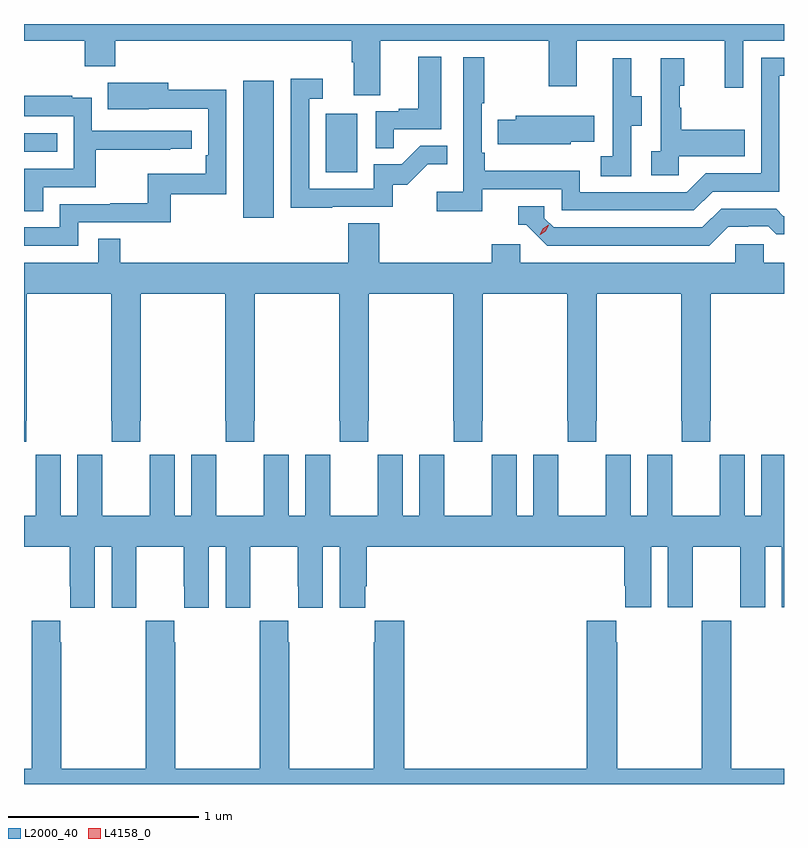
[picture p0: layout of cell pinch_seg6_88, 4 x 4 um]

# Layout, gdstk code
import gdstk
lib = gdstk.Library(unit=1e-6, precision=1e-09)
def R(c, l, rs):  # rectangles x0, y0, x1, y1
    for r in rs: c.add(gdstk.rectangle(r[:2], r[2:], *l))
def P(c, l, *ps):  # polygons
    for p in ps: c.add(gdstk.Polygon(p, *l))
L2000_40 = (2000, 40)
L4158_0 = (4158, 0)

pinch_seg6_88 = lib.new_cell('pinch_seg6_88')
R(pinch_seg6_88, L2000_40, [(900.149,933.084,900.31,933.805), (900.584,933.324,900.748,933.631), (898.995,933.432,899.171,933.528)])
P(pinch_seg6_88, L2000_40, [(900.871,934.016),(901.756,934.016),(901.756,933.777),(901.903,933.777),(901.903,934.016),(902.684,934.016),(902.684,933.768),(902.781,933.768),(902.781,934.016),(902.995,934.016),(902.995,934.104),(898.995,934.104),(898.995,934.016),(899.314,934.016),(899.314,933.881),(899.474,933.881),(899.474,934.016),(900.719,934.016),(900.719,933.904),(900.731,933.904),(900.731,933.73),(900.871,933.73)],
  [(900.941,933.549),(901.192,933.549),(901.192,933.931),(901.07,933.931),(901.07,933.658),(900.967,933.658),(900.967,933.645),(900.846,933.645),(900.846,933.451),(900.941,933.451)],
  [(901.406,933.234),(901.824,933.234),(901.824,933.123),(902.521,933.123),(902.62,933.222),(902.97,933.222),(902.97,933.831),(902.995,933.831),(902.995,933.927),(902.874,933.927),(902.874,933.318),(902.583,933.318),(902.484,933.219),(901.92,933.219),(901.92,933.331),(901.421,933.331),(901.421,933.427),(901.404,933.427),(901.404,933.688),(901.417,933.688),(901.417,933.928),(901.308,933.928),(901.308,933.22),(901.167,933.22),(901.167,933.118),(901.406,933.118)],
  [(902.19,933.568),(902.245,933.568),(902.245,933.723),(902.191,933.723),(902.191,933.925),(902.093,933.925),(902.093,933.711),(902.094,933.711),(902.094,933.407),(902.031,933.407),(902.031,933.304),(902.19,933.304)],
  [(902.442,933.407),(902.789,933.407),(902.789,933.547),(902.455,933.547),(902.455,933.662),(902.445,933.662),(902.445,933.78),(902.47,933.78),(902.47,933.925),(902.346,933.925),(902.346,933.434),(902.295,933.434),(902.295,933.309),(902.442,933.309)],
  [(900.617,933.141),(900.936,933.141),(900.936,933.258),(901.012,933.258),(901.119,933.365),(901.223,933.365),(901.223,933.464),(901.08,933.464),(900.982,933.366),(900.837,933.366),(900.837,933.237),(900.495,933.237),(900.495,933.711),(900.568,933.711),(900.568,933.817),(900.399,933.817),(900.399,933.136),(900.617,933.136)],
  [(899.28,933.06),(899.767,933.06),(899.767,933.207),(900.06,933.207),(900.06,933.758),(899.755,933.758),(899.755,933.796),(899.437,933.796),(899.437,933.656),(899.651,933.656),(899.651,933.657),(899.964,933.657),(899.964,933.412),(899.951,933.412),(899.951,933.316),(899.646,933.316),(899.646,933.161),(899.449,933.161),(899.449,933.156),(899.184,933.156),(899.184,933.033),(898.995,933.033),(898.995,932.937),(899.28,932.937)],
  [(899.095,933.246),(899.372,933.246),(899.372,933.442),(899.765,933.442),(899.765,933.447),(899.878,933.447),(899.878,933.543),(899.352,933.543),(899.352,933.715),(899.249,933.715),(899.249,933.727),(898.995,933.727),(898.995,933.618),(899.256,933.618),(899.256,933.342),(898.995,933.342),(898.995,933.118),(899.095,933.118)],
  [(901.872,933.485),(901.997,933.485),(901.997,933.622),(901.583,933.622),(901.583,933.6),(901.489,933.6),(901.489,933.471),(901.6,933.471),(901.6,933.47),(901.872,933.47)],
  [(902.701,933.036),(902.808,933.036),(902.808,933.039),(902.911,933.039),(902.953,932.997),(902.995,932.997),(902.995,933.093),(902.992,933.093),(902.953,933.132),(902.664,933.132),(902.565,933.033),(901.782,933.033),(901.734,933.081),(901.734,933.144),(901.595,933.144),(901.595,933.048),(901.638,933.048),(901.749,932.937),(902.602,932.937)],
  [(899.007,932.017),(899.01,932.017),(899.01,932.684),(899.455,932.684),(899.455,932.017),(899.457,932.017),(899.457,931.905),(899.607,931.905),(899.607,932.017),(899.61,932.017),(899.61,932.684),(900.055,932.684),(900.055,932.017),(900.057,932.017),(900.057,931.905),(900.207,931.905),(900.207,932.017),(900.21,932.017),(900.21,932.684),(900.655,932.684),(900.655,932.017),(900.657,932.017),(900.657,931.905),(900.807,931.905),(900.807,932.017),(900.81,932.017),(900.81,932.684),(901.255,932.684),(901.255,932.017),(901.257,932.017),(901.257,931.905),(901.407,931.905),(901.407,932.017),(901.41,932.017),(901.41,932.684),(901.855,932.684),(901.855,932.017),(901.857,932.017),(901.857,931.905),(902.007,931.905),(902.007,932.017),(902.01,932.017),(902.01,932.684),(902.455,932.684),(902.455,932.017),(902.457,932.017),(902.457,931.905),(902.607,931.905),(902.607,932.017),(902.61,932.017),(902.61,932.684),(902.995,932.684),(902.995,932.848),(902.889,932.848),(902.889,932.946),(902.739,932.946),(902.739,932.848),(901.608,932.848),(901.608,932.946),(901.457,932.946),(901.457,932.848),(900.866,932.848),(900.866,933.056),(900.701,933.056),(900.701,932.848),(899.501,932.848),(899.501,932.975),(899.385,932.975),(899.385,932.848),(898.995,932.848),(898.995,931.905),(899.007,931.905)],
  [(902.896,931.352),(902.984,931.352),(902.984,931.035),(902.995,931.035),(902.995,931.837),(902.876,931.837),(902.876,931.516),(902.788,931.516),(902.788,931.837),(902.658,931.837),(902.658,931.724),(902.657,931.724),(902.657,931.516),(902.407,931.516),(902.407,931.724),(902.406,931.724),(902.406,931.837),(902.276,931.837),(902.276,931.516),(902.188,931.516),(902.188,931.837),(902.058,931.837),(902.058,931.724),(902.057,931.724),(902.057,931.516),(901.807,931.516),(901.807,931.724),(901.806,931.724),(901.806,931.837),(901.676,931.837),(901.676,931.516),(901.588,931.516),(901.588,931.837),(901.458,931.837),(901.458,931.724),(901.457,931.724),(901.457,931.516),(901.207,931.516),(901.207,931.724),(901.206,931.724),(901.206,931.837),(901.076,931.837),(901.076,931.516),(900.988,931.516),(900.988,931.837),(900.858,931.837),(900.858,931.724),(900.857,931.724),(900.857,931.516),(900.607,931.516),(900.607,931.724),(900.606,931.724),(900.606,931.837),(900.476,931.837),(900.476,931.516),(900.388,931.516),(900.388,931.837),(900.258,931.837),(900.258,931.724),(900.257,931.724),(900.257,931.516),(900.007,931.516),(900.007,931.724),(900.006,931.724),(900.006,931.837),(899.876,931.837),(899.876,931.516),(899.788,931.516),(899.788,931.837),(899.658,931.837),(899.658,931.724),(899.657,931.724),(899.657,931.516),(899.407,931.516),(899.407,931.724),(899.406,931.724),(899.406,931.837),(899.276,931.837),(899.276,931.516),(899.188,931.516),(899.188,931.837),(899.058,931.837),(899.058,931.724),(899.057,931.724),(899.057,931.516),(898.995,931.516),(898.995,931.352),(899.237,931.352),(899.237,931.144),(899.238,931.144),(899.238,931.032),(899.368,931.032),(899.368,931.352),(899.456,931.352),(899.456,931.032),(899.586,931.032),(899.586,931.144),(899.587,931.144),(899.587,931.352),(899.837,931.352),(899.837,931.144),(899.838,931.144),(899.838,931.032),(899.968,931.032),(899.968,931.352),(900.056,931.352),(900.056,931.032),(900.186,931.032),(900.186,931.144),(900.187,931.144),(900.187,931.352),(900.437,931.352),(900.437,931.144),(900.438,931.144),(900.438,931.032),(900.568,931.032),(900.568,931.352),(900.656,931.352),(900.656,931.032),(900.79,931.032),(900.79,931.144),(900.8,931.144),(900.8,931.352),(902.153,931.352),(902.153,931.147),(902.159,931.147),(902.159,931.035),(902.296,931.035),(902.296,931.352),(902.384,931.352),(902.384,931.035),(902.515,931.035),(902.515,931.352),(902.765,931.352),(902.765,931.035),(902.896,931.035)],
  [(902.995,930.184),(902.718,930.184),(902.718,930.964),(902.563,930.964),(902.563,930.184),(902.118,930.184),(902.118,930.851),(902.113,930.851),(902.113,930.964),(901.958,930.964),(901.958,930.184),(900.995,930.184),(900.995,930.964),(900.841,930.964),(900.841,930.851),(900.835,930.851),(900.835,930.184),(900.39,930.184),(900.39,930.851),(900.387,930.851),(900.387,930.964),(900.237,930.964),(900.237,930.851),(900.235,930.851),(900.235,930.184),(899.79,930.184),(899.79,930.851),(899.787,930.851),(899.787,930.964),(899.637,930.964),(899.637,930.851),(899.635,930.851),(899.635,930.184),(899.19,930.184),(899.19,930.851),(899.187,930.851),(899.187,930.964),(899.037,930.964),(899.037,930.851),(899.035,930.851),(899.035,930.184),(898.995,930.184),(898.995,930.104),(902.995,930.104)])
P(pinch_seg6_88, L4158_0, [(901.71,932.995),(901.71,932.996),(901.727,933.028),(901.758,933.047),(901.758,933.047),(901.758,933.047),(901.742,933.014),(901.711,932.995)])

lib.write_gds('pinch_seg6_88.gds')
